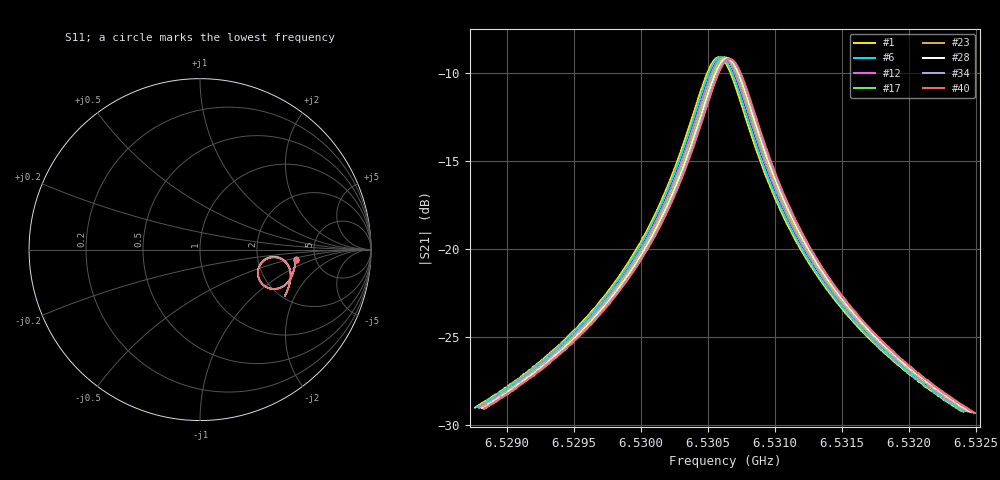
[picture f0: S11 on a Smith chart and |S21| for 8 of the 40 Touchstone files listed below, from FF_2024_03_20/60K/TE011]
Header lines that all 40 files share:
#  HZ  S  RI  R  50.00
! Rohde & Schwarz Vector Network Analyzer
! Rohde-Schwarz,ZNB20-2Port,1311601062101988,3.16
! freq[Hz]  re:S11  im:S11  re:S21  im:S21  re:S12  im:S12  re:S22  im:S22
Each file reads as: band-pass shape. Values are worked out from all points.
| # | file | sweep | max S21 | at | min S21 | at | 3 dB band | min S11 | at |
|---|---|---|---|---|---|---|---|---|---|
| 1 | 0_1_58.0_58.8300095_0.572_1.3002009391784668_.s2p | 6.528763 GHz to 6.532398 GHz | -9.14 dB | 6.530581 GHz | -29.2 dB | 6.532398 GHz | 6.530408 GHz-6.530762 GHz | -8.9 dB | 6.53059 GHz |
| 2 | 1_1_57.9997_58.8307381_0.572_3.7105331420898438_.s2p | 6.528766 GHz to 6.532399 GHz | -9.13 dB | 6.530582 GHz | -29.2 dB | 6.532399 GHz | 6.53041 GHz-6.530764 GHz | -8.9 dB | 6.530592 GHz |
| 3 | 2_1_58.0003_58.8323708_0.572_7.5426294803619385_.s2p | 6.528768 GHz to 6.532401 GHz | -9.13 dB | 6.530585 GHz | -29.3 dB | 6.532401 GHz | 6.530412 GHz-6.530766 GHz | -8.9 dB | 6.530594 GHz |
| 4 | 3_1_57.9996_58.834549_0.812_9.96260666847229_.s2p | 6.528772 GHz to 6.532405 GHz | -9.13 dB | 6.530589 GHz | -29.3 dB | 6.532405 GHz | 6.530416 GHz-6.53077 GHz | -8.9 dB | 6.530598 GHz |
| 5 | 4_1_58.0003_58.8337288_0.797_12.372758865356445_.s2p | 6.528775 GHz to 6.532405 GHz | -9.13 dB | 6.53059 GHz | -29.2 dB | 6.532405 GHz | 6.530418 GHz-6.530771 GHz | -8.9 dB | 6.530599 GHz |
| 6 | 5_1_57.9997_58.8387871_0.827_14.806840181350708_.s2p | 6.528777 GHz to 6.532407 GHz | -9.13 dB | 6.530592 GHz | -29.3 dB | 6.532407 GHz | 6.53042 GHz-6.530774 GHz | -8.9 dB | 6.530601 GHz |
| 7 | 6_1_58.0003_58.8386993_0.872_17.268739938735962_.s2p | 6.528778 GHz to 6.532411 GHz | -9.13 dB | 6.530594 GHz | -29.3 dB | 6.532411 GHz | 6.530422 GHz-6.530776 GHz | -8.9 dB | 6.530603 GHz |
| 8 | 7_1_57.9998_58.8414154_0.827_25.278356552124023_.s2p | 6.528785 GHz to 6.532419 GHz | -9.13 dB | 6.530602 GHz | -29.3 dB | 6.532419 GHz | 6.530429 GHz-6.530784 GHz | -8.9 dB | 6.530611 GHz |
| 9 | 8_1_58.0003_58.8427696_0.797_27.843331813812256_.s2p | 6.528787 GHz to 6.53242 GHz | -9.13 dB | 6.530603 GHz | -29.3 dB | 6.53242 GHz | 6.530431 GHz-6.530785 GHz | -8.9 dB | 6.530612 GHz |
| 10 | 9_1_58.0_58.8444977_61.406_30.27000617980957_.s2p | 6.528789 GHz to 6.532422 GHz | -9.14 dB | 6.530605 GHz | -29.3 dB | 6.532422 GHz | 6.530433 GHz-6.530787 GHz | -8.9 dB | 6.530614 GHz |
| 11 | 10_1_58.0001_58.8455849_294.707_32.69706320762634_.s2p | 6.528791 GHz to 6.532424 GHz | -9.13 dB | 6.530608 GHz | -29.3 dB | 6.532424 GHz | 6.530435 GHz-6.530789 GHz | -8.9 dB | 6.530617 GHz |
| 12 | 11_1_58.0002_58.8479385_522.323_35.09666442871094_.s2p | 6.528794 GHz to 6.532427 GHz | -9.14 dB | 6.53061 GHz | -29.2 dB | 6.532427 GHz | 6.530438 GHz-6.530792 GHz | -8.9 dB | 6.530619 GHz |
| 13 | 12_1_58.0004_58.8472137_780.342_37.50587606430054_.s2p | 6.528796 GHz to 6.532431 GHz | -9.13 dB | 6.530622 GHz | -29.3 dB | 6.532431 GHz | 6.53044 GHz-6.530795 GHz | -8.9 dB | 6.530622 GHz |
| 14 | 13_1_58.0006_58.8488426_1027.695_39.99678945541382_.s2p | 6.528799 GHz to 6.532433 GHz | -9.13 dB | 6.530616 GHz | -29.2 dB | 6.532433 GHz | 6.530444 GHz-6.530798 GHz | -8.9 dB | 6.530625 GHz |
| 15 | 14_1_58.0001_58.8495674_1236.723_42.38765835762024_.s2p | 6.528804 GHz to 6.532434 GHz | -9.13 dB | 6.530619 GHz | -29.2 dB | 6.532434 GHz | 6.530447 GHz-6.530801 GHz | -8.9 dB | 6.530628 GHz |
| 16 | 15_1_58.0007_58.8508339_1505.195_44.80729675292969_.s2p | 6.528805 GHz to 6.532438 GHz | -9.13 dB | 6.530622 GHz | -29.2 dB | 6.532438 GHz | 6.530449 GHz-6.530803 GHz | -8.9 dB | 6.530631 GHz |
| 17 | 16_1_57.9999_58.8514748_1750.296_47.206015825271606_.s2p | 6.528809 GHz to 6.53244 GHz | -9.13 dB | 6.530624 GHz | -29.3 dB | 6.53244 GHz | 6.530452 GHz-6.530806 GHz | -8.9 dB | 6.530633 GHz |
| 18 | 17_1_57.9999_58.8520164_1988.4_49.64090824127197_.s2p | 6.528811 GHz to 6.532442 GHz | -9.13 dB | 6.530627 GHz | -29.3 dB | 6.532442 GHz | 6.530454 GHz-6.530808 GHz | -8.9 dB | 6.530636 GHz |
| 19 | 18_1_58.0007_58.8544617_2227.854_52.05184292793274_.s2p | 6.528815 GHz to 6.532442 GHz | -9.14 dB | 6.530629 GHz | -29.2 dB | 6.532442 GHz | 6.530456 GHz-6.53081 GHz | -8.9 dB | 6.530638 GHz |
| 20 | 19_1_58.0001_58.8559074_2447.26_54.49619245529175_.s2p | 6.528814 GHz to 6.532447 GHz | -9.15 dB | 6.530631 GHz | -29.3 dB | 6.532447 GHz | 6.530458 GHz-6.530812 GHz | -8.9 dB | 6.53064 GHz |
| 21 | 20_1_58.0005_58.8566322_2696.238_56.90649604797363_.s2p | 6.528816 GHz to 6.532449 GHz | -9.15 dB | 6.530632 GHz | -29.3 dB | 6.532449 GHz | 6.53046 GHz-6.530814 GHz | -8.9 dB | 6.530642 GHz |
| 22 | 21_1_58.0001_58.8567238_2945.247_59.41396689414978_.s2p | 6.528815 GHz to 6.532453 GHz | -9.16 dB | 6.530634 GHz | -29.3 dB | 6.532453 GHz | 6.530461 GHz-6.530816 GHz | -8.9 dB | 6.530634 GHz |
| 23 | 22_1_58.0003_58.8568192_3194.351_61.820321798324585_.s2p | 6.528815 GHz to 6.532456 GHz | -9.17 dB | 6.530636 GHz | -29.3 dB | 6.532456 GHz | 6.530463 GHz-6.530818 GHz | -8.9 dB | 6.530645 GHz |
| 24 | 23_1_57.9999_58.8578987_3432.561_64.2530574798584_.s2p | 6.528815 GHz to 6.532459 GHz | -9.17 dB | 6.530637 GHz | -29.3 dB | 6.532459 GHz | 6.530464 GHz-6.530819 GHz | -8.9 dB | 6.530646 GHz |
| 25 | 24_1_57.9999_58.8594437_3669.149_66.66442489624023_.s2p | 6.528816 GHz to 6.532461 GHz | -9.17 dB | 6.530638 GHz | -29.3 dB | 6.532461 GHz | 6.530465 GHz-6.530821 GHz | -8.9 dB | 6.530647 GHz |
| 26 | 25_1_57.9996_58.8583527_3919.986_69.08734202384949_.s2p | 6.528816 GHz to 6.532463 GHz | -9.18 dB | 6.53064 GHz | -29.3 dB | 6.532463 GHz | 6.530466 GHz-6.530822 GHz | -8.9 dB | 6.530649 GHz |
| 27 | 26_1_58.0004_58.861351_4160.604_71.50941467285156_.s2p | 6.528818 GHz to 6.532464 GHz | -9.18 dB | 6.530641 GHz | -29.3 dB | 6.532464 GHz | 6.530468 GHz-6.530823 GHz | -8.9 dB | 6.530641 GHz |
| 28 | 27_1_58.0002_58.8637962_4411.013_73.94383978843689_.s2p | 6.528817 GHz to 6.532468 GHz | -9.18 dB | 6.530642 GHz | -29.3 dB | 6.532468 GHz | 6.530469 GHz-6.530825 GHz | -8.9 dB | 6.530642 GHz |
| 29 | 28_1_58.0006_58.862587_4651.477_76.37500667572021_.s2p | 6.528818 GHz to 6.532469 GHz | -9.18 dB | 6.530644 GHz | -29.3 dB | 6.532469 GHz | 6.53047 GHz-6.530826 GHz | -8.9 dB | 6.530653 GHz |
| 30 | 29_1_58.0_58.8670273_5452.236_84.43127489089966_.s2p | 6.52882 GHz to 6.53247 GHz | -9.19 dB | 6.530645 GHz | -29.3 dB | 6.53247 GHz | 6.530472 GHz-6.530827 GHz | -8.9 dB | 6.530654 GHz |
| 31 | 30_1_57.9996_58.8695641_5672.395_86.86624193191528_.s2p | 6.528824 GHz to 6.532475 GHz | -9.19 dB | 6.53065 GHz | -29.3 dB | 6.532475 GHz | 6.530476 GHz-6.530832 GHz | -8.9 dB | 6.530659 GHz |
| 32 | 31_1_58.0002_58.8704681_5942.673_89.29093194007874_.s2p | 6.528826 GHz to 6.532476 GHz | -9.19 dB | 6.530651 GHz | -29.3 dB | 6.532476 GHz | 6.530477 GHz-6.530833 GHz | -8.9 dB | 6.53066 GHz |
| 33 | 32_1_57.9999_58.8718262_6172.716_91.710520029068_.s2p | 6.528827 GHz to 6.532477 GHz | -9.20 dB | 6.530652 GHz | -29.3 dB | 6.532477 GHz | 6.530479 GHz-6.530835 GHz | -8.9 dB | 6.530661 GHz |
| 34 | 33_1_58.0005_58.873188_6422.672_94.09795427322388_.s2p | 6.528827 GHz to 6.53248 GHz | -9.20 dB | 6.530654 GHz | -29.3 dB | 6.53248 GHz | 6.53048 GHz-6.530836 GHz | -8.9 dB | 6.530654 GHz |
| 35 | 34_1_58.0004_58.8724594_6673.423_96.51954936981201_.s2p | 6.528827 GHz to 6.532482 GHz | -9.20 dB | 6.530655 GHz | -29.3 dB | 6.532482 GHz | 6.530481 GHz-6.530838 GHz | -8.9 dB | 6.530664 GHz |
| 36 | 35_1_58.001_58.873455_6903.593_98.9312071800232_.s2p | 6.52883 GHz to 6.532483 GHz | -9.21 dB | 6.530656 GHz | -29.3 dB | 6.532483 GHz | 6.530483 GHz-6.530839 GHz | -8.9 dB | 6.530665 GHz |
| 37 | 36_1_58.0_58.8754654_7153.489_101.36790990829468_.s2p | 6.528829 GHz to 6.532486 GHz | -9.22 dB | 6.530658 GHz | -29.4 dB | 6.532486 GHz | 6.530484 GHz-6.53084 GHz | -8.9 dB | 6.530667 GHz |
| 38 | 37_1_58.0001_58.876461_7383.867_103.7903962135315_.s2p | 6.52883 GHz to 6.532488 GHz | -9.22 dB | 6.530659 GHz | -29.4 dB | 6.532488 GHz | 6.530485 GHz-6.530842 GHz | -8.9 dB | 6.530668 GHz |
| 39 | 38_1_58.0001_58.876545_7613.552_106.22063755989075_.s2p | 6.528829 GHz to 6.532492 GHz | -9.23 dB | 6.53066 GHz | -29.3 dB | 6.532492 GHz | 6.530486 GHz-6.530843 GHz | -8.8 dB | 6.53066 GHz |
| 40 | 39_1_58.0002_58.8774567_7864.233_108.64244556427002_.s2p | 6.52883 GHz to 6.532493 GHz | -9.23 dB | 6.530662 GHz | -29.3 dB | 6.532484 GHz | 6.530488 GHz-6.530845 GHz | -8.8 dB | 6.530671 GHz |
